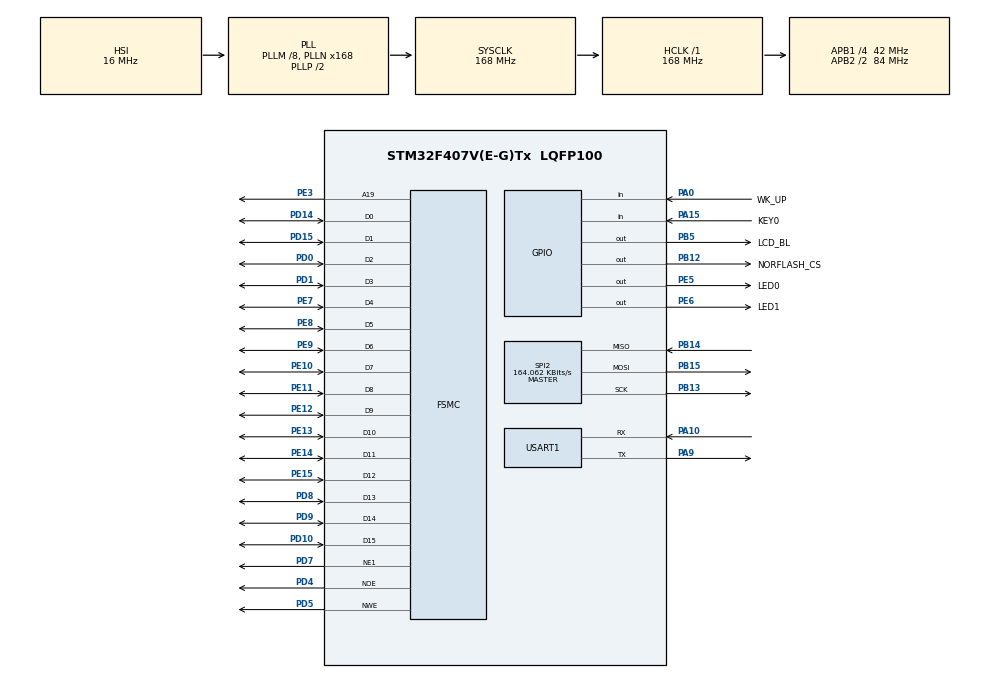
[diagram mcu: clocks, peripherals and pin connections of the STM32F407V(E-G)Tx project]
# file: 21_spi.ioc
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FSMC.AddressSetupTime1=15
FSMC.BusTurnAroundDuration1=0
FSMC.DataSetupTime1=60
FSMC.ExtendedAddressSetupTime1=9
FSMC.ExtendedDataSetupTime1=9
FSMC.ExtendedMode1=FSMC_EXTENDED_MODE_ENABLE
Mcu.Family=STM32F4
Mcu.Name=STM32F407V(E-G)Tx
Mcu.Package=LQFP100
NVIC.PriorityGroup=NVIC_PRIORITYGROUP_2
NVIC.USART1_IRQn=true\:2\:2\:true\:false\:true\:true\:true\:true
PA0-WKUP.GPIO_Label=WK_UP
PA0-WKUP.GPIO_PuPd=GPIO_PULLDOWN
PA0-WKUP.Signal=GPIO_Input
PA10.Mode=Asynchronous
PA10.Signal=USART1_RX
PA13.Mode=Serial_Wire
PA13.Signal=SYS_JTMS-SWDIO
PA14.Mode=Serial_Wire
PA14.Signal=SYS_JTCK-SWCLK
PA15.GPIO_Label=KEY0
PA15.GPIO_PuPd=GPIO_PULLDOWN
PA15.Signal=GPIO_Input
PA9.Mode=Asynchronous
PA9.Signal=USART1_TX
PB12.GPIO_Label=NORFLASH_CS
PB12.GPIO_PuPd=GPIO_PULLUP
PB12.GPIO_Speed=GPIO_SPEED_FREQ_HIGH
PB12.PinState=GPIO_PIN_SET
PB12.Signal=GPIO_Output
PB13.GPIO_PuPd=GPIO_PULLUP
PB13.Mode=Full_Duplex_Master
PB13.Signal=SPI2_SCK
PB14.GPIO_PuPd=GPIO_PULLUP
PB14.Mode=Full_Duplex_Master
PB14.Signal=SPI2_MISO
PB15.GPIO_PuPd=GPIO_PULLUP
PB15.Mode=Full_Duplex_Master
PB15.Signal=SPI2_MOSI
PB5.GPIO_Label=LCD_BL
PB5.GPIO_PuPd=GPIO_PULLUP
PB5.GPIO_Speed=GPIO_SPEED_FREQ_HIGH
PB5.PinState=GPIO_PIN_SET
PB5.Signal=GPIO_Output
PC14-OSC32_IN.Mode=LSE-External-Oscillator
PC14-OSC32_IN.Signal=RCC_OSC32_IN
PC15-OSC32_OUT.Mode=LSE-External-Oscillator
PC15-OSC32_OUT.Signal=RCC_OSC32_OUT
PD0.Mode=16b-d1
PD0.Signal=FSMC_D2
PD1.Mode=16b-d1
PD1.Signal=FSMC_D3
PD10.Mode=16b-d1
PD10.Signal=FSMC_D15
PD14.Mode=16b-d1
PD14.Signal=FSMC_D0
PD15.Mode=16b-d1
PD15.Signal=FSMC_D1
PD4.Mode=Lcd1
PD4.Signal=FSMC_NOE
PD5.Mode=Lcd1
PD5.Signal=FSMC_NWE
PD7.Mode=NorPsramChipSelect1_1
PD7.Signal=FSMC_NE1
PD8.Mode=16b-d1
PD8.Signal=FSMC_D13
PD9.Mode=16b-d1
PD9.Signal=FSMC_D14
PE10.Mode=16b-d1
PE10.Signal=FSMC_D7
PE11.Mode=16b-d1
PE11.Signal=FSMC_D8
PE12.Mode=16b-d1
PE12.Signal=FSMC_D9
PE13.Mode=16b-d1
PE13.Signal=FSMC_D10
PE14.Mode=16b-d1
PE14.Signal=FSMC_D11
PE15.Mode=16b-d1
PE15.Signal=FSMC_D12
PE3.Mode=A19_1
PE3.Signal=FSMC_A19
PE5.GPIO_Label=LED0
PE5.GPIO_PuPd=GPIO_PULLUP
PE5.GPIO_Speed=GPIO_SPEED_FREQ_HIGH
PE5.PinState=GPIO_PIN_SET
PE5.Signal=GPIO_Output
PE6.GPIO_Label=LED1
PE6.GPIO_PuPd=GPIO_PULLUP
PE6.GPIO_Speed=GPIO_SPEED_FREQ_HIGH
PE6.PinState=GPIO_PIN_SET
PE6.Signal=GPIO_Output
PE7.Mode=16b-d1
PE7.Signal=FSMC_D4
PE8.Mode=16b-d1
PE8.Signal=FSMC_D5
PE9.Mode=16b-d1
PE9.Signal=FSMC_D6
PH0-OSC_IN.Mode=HSE-External-Oscillator
PH0-OSC_IN.Signal=RCC_OSC_IN
PH1-OSC_OUT.Mode=HSE-External-Oscillator
PH1-OSC_OUT.Signal=RCC_OSC_OUT
ProjectManager.HeapSize=0x200
ProjectManager.StackSize=0x400
ProjectManager.TargetToolchain=STM32CubeIDE
RCC.48MHZClocksFreq_Value=84000000
RCC.AHBFreq_Value=168000000
RCC.APB1CLKDivider=RCC_HCLK_DIV4
RCC.APB1Freq_Value=42000000
RCC.APB1TimFreq_Value=84000000
RCC.APB2CLKDivider=RCC_HCLK_DIV2
RCC.APB2Freq_Value=84000000
RCC.APB2TimFreq_Value=168000000
RCC.CortexFreq_Value=168000000
RCC.HCLKFreq_Value=168000000
RCC.HSE_VALUE=25000000
RCC.HSI_VALUE=16000000
RCC.PLLM=8
RCC.PLLN=168
RCC.SYSCLKFreq_VALUE=168000000
RCC.SYSCLKSource=RCC_SYSCLKSOURCE_PLLCLK
RCC.VCOOutputFreq_Value=336000000
SPI2.BaudRatePrescaler=SPI_BAUDRATEPRESCALER_256
SPI2.CLKPhase=SPI_PHASE_2EDGE
SPI2.CLKPolarity=SPI_POLARITY_HIGH
SPI2.CalculateBaudRate=164.062 KBits/s
SPI2.Direction=SPI_DIRECTION_2LINES
SPI2.Mode=SPI_MODE_MASTER
SPI2.VirtualType=VM_MASTER
USART1.VirtualMode=VM_ASYNC
board=custom

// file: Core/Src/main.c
/**
 ****************************************************************************************************
 * @file        main.c
 * @author      ALIENTEK
 * @brief       spi code
 * @license     Copyright (C) 2012-2024, ALIENTEK
 ****************************************************************************************************
 * @attention
 *
 * platform     : ALIENTEK M100-STM32F407 board
 * website      : www.alientek.com
 * forum        : www.openedv.com/forum.php
 *
 * change logs  :
 * version      data         notes
 * V1.0         20240409     the first version
 *
 ****************************************************************************************************
 */

 /* USER CODE BEGIN Header */

/* USER CODE END Header */
#include "main.h"
#include "spi.h"
#include "usart.h"
#include "gpio.h"
#include "fsmc.h"

/* USER CODE BEGIN Includes */
#include "../../BSP/NORFLASH/norflash.h"
#include "../../BSP/LED/led.h"
#include "../../BSP/KEY/key.h"
#include "../../BSP/LCD/lcd.h"
/* USER CODE END Includes */

/* USER CODE BEGIN PTD */
/* An array of strings to write to FLASH */
const uint8_t g_text_buf[] = {"STM32 SPI TEST "};

#define TEXT_SIZE sizeof(g_text_buf) /* TEXT String length */
/* USER CODE END PTD */

/* USER CODE BEGIN PD */
/**
 * @brief   Displays information about the experiment
 * @param   None
 * @retval  None
 */
void stm32f407vg_show_mesg(void)
{
	/* The serial port outputs the experimental information */
	printf("\n");
	printf("********************************\r\n");
	printf("STM32F407\r\n");
	printf("SPI Test\r\n");
	printf("ATOM@ALIENTEK\r\n");
	printf("********************************\r\n");
	printf("\r\n");
}
/* USER CODE END PD */

void SystemClock_Config(void);

int main(void)
{
  /* USER CODE BEGIN 1 */
  uint8_t key;
  uint16_t i = 0;
  uint8_t datatemp[TEXT_SIZE+2];
  uint32_t flashsize;
  uint16_t id = 0;
  /* USER CODE END 1 */

  /* MCU Configuration--------------------------------------------------------*/

  /* Reset of all peripherals, Initializes the Flash interface and the Systick. */
  HAL_Init();

  /* Configure the system clock */
  SystemClock_Config();

  /* Initialize all configured peripherals */
  MX_GPIO_Init();
  MX_USART1_UART_Init();
  MX_FSMC_Init();
  MX_SPI2_Init();
  /* USER CODE BEGIN 2 */
  lcd_init();                          /* Initialize LCD */
  norflash_init();                     /* Initialize NORFLASH */
  stm32f407vg_show_mesg();

  lcd_show_string(30,  50, 200, 16, 16, "STM32", RED);
  lcd_show_string(30,  70, 200, 16, 16, "SPI TEST", RED);
  lcd_show_string(30,  90, 200, 16, 16, "ATOM@ALIENTEK", RED);
  lcd_show_string(30, 110, 200, 16, 16, "WKUP:Write  KEY0:Read", RED);

  id = norflash_read_id(); /* Reading FLASH ID */

  while ((id == 0) || (id == 0XFFFF)) /* The FLASH chip cannot be detected */
  {
      lcd_show_string(30, 130, 200, 16, 16, "FLASH Check Failed!", RED);
      HAL_Delay(500);
      lcd_show_string(30, 130, 200, 16, 16, "Please Check!      ", RED);
      HAL_Delay(500);
      LED1_TOGGLE();
  }

  lcd_show_string(30, 130, 200, 16, 16, "SPI FLASH Ready!", BLUE);
  flashsize = 16 * 1024 * 1024; /* The FLASH size is 16 megabytes */
  /* USER CODE END 2 */

  /* Infinite loop */
  /* USER CODE BEGIN WHILE */
  while (1)
  {
	  key = key_scan(0);

	  if (key == WKUP_PRES)
	  {
	  	  lcd_fill(0, 150, 239, 319, WHITE);
	  	  lcd_show_string(30, 150, 200, 16, 16, "Start Write FLASH....", BLUE);
	  	  printf("111:%d\r\n",i);
	  	  sprintf((char *)datatemp, "%s%d", (char *)g_text_buf, i);
	  	  norflash_write((uint8_t *)datatemp, flashsize - 100, TEXT_SIZE);      /* Starting at the 100th to last address, a SIZE is written */
	  	  lcd_show_string(30, 150, 200, 16, 16, "FLASH Write Finished!", BLUE); /* Prompt transmission completed */
	  }

	  if (key == KEY0_PRES)
	  {
	  	  lcd_show_string(30, 150, 200, 16, 16, "Start Read FLASH... . ", BLUE);
	  	  norflash_read(datatemp, flashsize - 100, TEXT_SIZE);                   /* Starting at the 100th address from the bottom, SIZE bytes are read out */
	  	  lcd_show_string(30, 150, 200, 16, 16, "The Data Readed Is:   ", BLUE);
	  	  lcd_show_string(30, 170, 200, 16, 16, (char *)datatemp, BLUE);         /* Displays the string read */
	  }

	  i++;
	  if (i == 20)
	  {
	     LED0_TOGGLE();         /* flashing LED0 indicates that the system is running */
	     i = 0;
	  }
	  HAL_Delay(10);            /* delay 10ms */
    /* USER CODE END WHILE */

  }
}

void SystemClock_Config(void)
{
  RCC_OscInitTypeDef RCC_OscInitStruct = {0};
  RCC_ClkInitTypeDef RCC_ClkInitStruct = {0};

  /** Configure the main internal regulator output voltage
  */
  __HAL_RCC_PWR_CLK_ENABLE();
  __HAL_PWR_VOLTAGESCALING_CONFIG(PWR_REGULATOR_VOLTAGE_SCALE1);

  /** Initializes the RCC Oscillators according to the specified parameters
  * in the RCC_OscInitTypeDef structure.
  */
  RCC_OscInitStruct.OscillatorType = RCC_OSCILLATORTYPE_HSI;
  RCC_OscInitStruct.HSIState = RCC_HSI_ON;
  RCC_OscInitStruct.HSICalibrationValue = RCC_HSICALIBRATION_DEFAULT;
  RCC_OscInitStruct.PLL.PLLState = RCC_PLL_ON;
  RCC_OscInitStruct.PLL.PLLSource = RCC_PLLSOURCE_HSI;
  RCC_OscInitStruct.PLL.PLLM = 8;
  RCC_OscInitStruct.PLL.PLLN = 168;
  RCC_OscInitStruct.PLL.PLLP = RCC_PLLP_DIV2;
  RCC_OscInitStruct.PLL.PLLQ = 4;
  if (HAL_RCC_OscConfig(&RCC_OscInitStruct) != HAL_OK)
  {
    Error_Handler();
  }

  /** Initializes the CPU, AHB and APB buses clocks
  */
  RCC_ClkInitStruct.ClockType = RCC_CLOCKTYPE_HCLK|RCC_CLOCKTYPE_SYSCLK
                              |RCC_CLOCKTYPE_PCLK1|RCC_CLOCKTYPE_PCLK2;
  RCC_ClkInitStruct.SYSCLKSource = RCC_SYSCLKSOURCE_PLLCLK;
  RCC_ClkInitStruct.AHBCLKDivider = RCC_SYSCLK_DIV1;
  RCC_ClkInitStruct.APB1CLKDivider = RCC_HCLK_DIV4;
  RCC_ClkInitStruct.APB2CLKDivider = RCC_HCLK_DIV2;

  if (HAL_RCC_ClockConfig(&RCC_ClkInitStruct, FLASH_LATENCY_5) != HAL_OK)
  {
    Error_Handler();
  }
}

void Error_Handler(void)
{
  __disable_irq();
  while (1)
  {
  }
}
